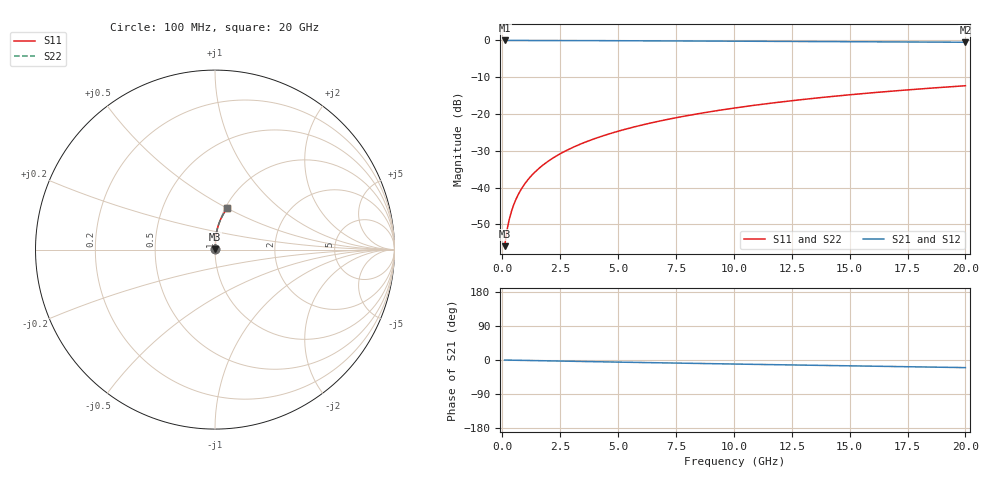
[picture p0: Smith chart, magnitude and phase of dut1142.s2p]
! Touchstone file exported from HFSS 2024.1.0
!  File:  C:/UserFiles/LocalFiles/RDL_TSV_Batchsim/temp_RDL_bottom_1142_1780055686.aedt
!  Generated:  07:57:04 PM May 29, 2026
!  Design:  RDL_bottom
!  Project:  temp_RDL_bottom_1142_1780055686
!  Setup:  Setup1
!  Solution:  Sweep
! Variables:
!  dtsv = 10.80580581um
!  hbump = 3um
!  htsv = 58.2um
!  ldown = 230.91um
!  lrdl = 100um
!  p = 40
!  p1 = 56.86um
!  rhole = 1um
!  t = 450um
!  tdown = 4.91um
!  trdl = 3.915915916um
!  wdown = 18.22um
!  wrdl = 20um
# GHz S MA R 50.000000
! Terminal data exported
! Port[1] = RDL1_T1
! Port[2] = RDL1_T2
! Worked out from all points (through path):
!   200 points, 100 MHz to 20 GHz, reference 50 ohm
!   highest |S21| = -0.01 dB at 100 MHz (marker M1); lowest = -0.5 dB at 20 GHz (marker M2)
!   group delay of S21, straight-line fit = 2.76 ps
!   lowest |S11| = -55.9 dB at 100 MHz (marker M3), VSWR 1.00, Z = 50.1 + j0.12 ohm
!   |S11| at or under -10 dB: start of sweep to end of sweep
!   |S22| runs from -55.9 to -12.3 dB; largest |S21 - S12| = 3e-15
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0.1  0.001594 48.8  0.9989 -0.1  0.9989 -0.1  0.001594 48.8
! Gamma 0 0 0 0
! Port Impedance 50 0 50 0
0.2  0.002606 65.2  0.9989 -0.2  0.9989 -0.2  0.002606 65.2
0.3  0.003686 72.2  0.9988 -0.4  0.9988 -0.4  0.003686 72.2
0.4  0.004787 76.1  0.9988 -0.5  0.9988 -0.5  0.004786 76.1
0.5  0.005899 78.5  0.9987 -0.6  0.9987 -0.6  0.005899 78.5
0.7  0.008147 81.5  0.9986 -0.8  0.9986 -0.8  0.008147 81.5
0.8  0.009278 82.5  0.9985 -0.9  0.9985 -0.9  0.009278 82.5
1  0.01155 83.8  0.9984 -1.2  0.9984 -1.2  0.01155 83.8
1.2  0.01383 84.7  0.9982 -1.4  0.9982 -1.4  0.01383 84.7
1.4  0.01611 85.3  0.998 -1.6  0.998 -1.6  0.01611 85.3
1.7  0.01955 85.9  0.9977 -1.9  0.9977 -1.9  0.01955 85.9
2  0.023 86.3  0.9973 -2.3  0.9973 -2.3  0.023 86.3
2.7  0.03109 86.8  0.9962 -3.1  0.9962 -3.1  0.03109 86.8
3.5  0.04042 87.0  0.9946 -4.0  0.9946 -4.0  0.04042 87.0
4.2  0.04869 87.0  0.9931 -4.7  0.9931 -4.7  0.04869 87.0
5  0.05825 86.8  0.9911 -5.6  0.9911 -5.6  0.05825 86.8
6.8  0.08019 85.9  0.9863 -7.4  0.9863 -7.4  0.08019 85.9
8.4  0.1001 84.7  0.9817 -9.1  0.9817 -9.1  0.1001 84.7
10.1  0.1214 83.3  0.9767 -10.7  0.9767 -10.7  0.1214 83.3
13.4  0.1626 80.1  0.9666 -13.9  0.9666 -13.9  0.1626 80.1
16.7  0.203 76.8  0.9559 -17.0  0.9559 -17.0  0.203 76.8
20  0.2419 73.5  0.9445 -20.1  0.9445 -20.1  0.2419 73.5
